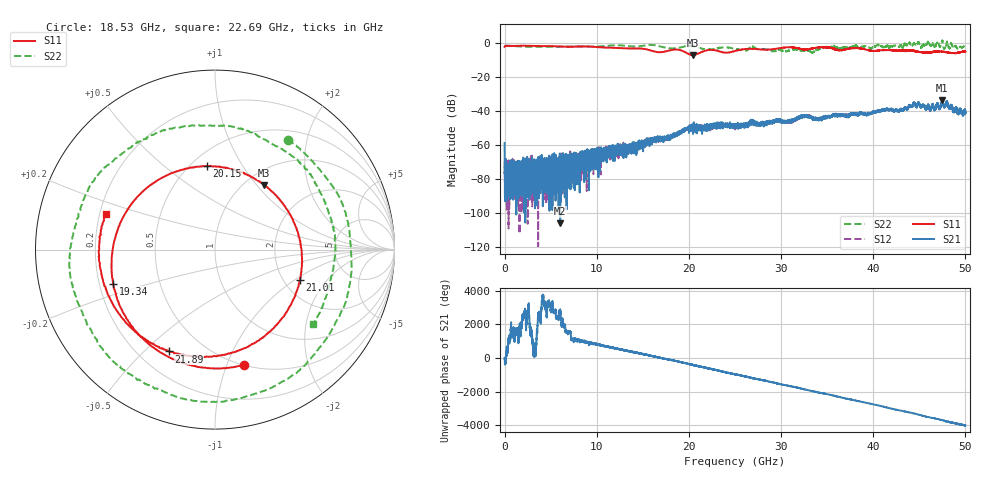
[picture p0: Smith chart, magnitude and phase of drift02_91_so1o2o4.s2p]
!Created with skrf (http://scikit-rf.org).
# Hz S RI R 50.0
!freq ReS11 ImS11 ReS21 ImS21 ReS12 ImS12 ReS22 ImS22
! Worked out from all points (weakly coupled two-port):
!   10001 points, 300 kHz to 50 GHz, reference 50 ohm
!   highest |S21| = -33.57 dB at 47.48 GHz (marker M1); lowest = -106.2 dB at 6.035 GHz (marker M2)
!   lowest |S11| = -6.9 dB at 20.45 GHz (marker M3), VSWR 2.65, Z = 60.7 + j54.7 ohm
!   |S11| at or under -10 dB: nowhere
!   |S22| runs from -5.3 to 1.8 dB; largest |S21 - S12| = 0.0029
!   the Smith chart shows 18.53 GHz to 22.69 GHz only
!   S11 on the Smith chart (normalised r, x): 18.53 GHz: 0.51, -1.15; 19.34 GHz: 0.26, -0.15; 20.15 GHz: 0.60, +0.71; 21.01 GHz: 2.44, -1.11; 21.89 GHz: 0.32, -0.60; 22.69 GHz: 0.22, +0.15
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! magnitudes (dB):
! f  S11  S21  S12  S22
! 300 kHz  -2.1  -58.7  -69.6  -1.3
! 255.3 MHz  -1.4  -80.2  -76.0  -1.4
! 405.3 MHz  -1.4  -86.6  -76.4  -1.4
! 6.035 GHz  -1.8  -106.2  -70.3  -1.9
! 8.335 GHz  -1.7  -67.4  -78.0  -1.9
! 10.34 GHz  -2.3  -65.0  -64.7  -1.7
! 16.67 GHz  -5.2  -56.3  -56.6  -1.4
! 18.53 GHz  -3.6  -53.6  -53.5  -2.7
! 19.34 GHz  -4.5  -51.6  -52.0  -2.1
! 20.15 GHz  -6.6  -50.6  -48.2  -1.5
! 20.45 GHz  -6.9  -53.5  -49.0  -1.7
! 21.01 GHz  -6.0  -49.7  -51.3  -2.3
! 21.89 GHz  -4.1  -48.5  -49.2  -3.4
! 22.69 GHz  -3.9  -48.4  -48.7  -3.3
! 25 GHz  -4.5  -49.1  -49.4  -3.2
! 26.11 GHz  -3.3  -48.4  -49.1  -4.3
! 26.91 GHz  -3.2  -45.7  -46.5  -1.7
! 33.34 GHz  -3.0  -43.2  -43.7  -5.0
! 34.89 GHz  -2.1  -43.5  -43.8  -2.2
! 41.67 GHz  -3.9  -39.0  -39.3  -2.0
! 47.48 GHz  -4.8  -33.6  -33.6  1.5
! 50 GHz  -4.7  -41.0  -40.7  -1.5
